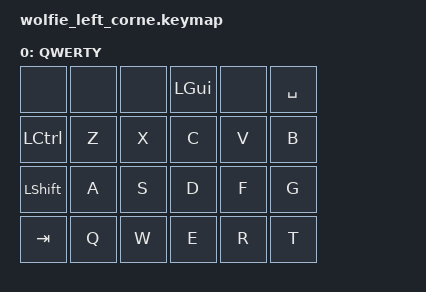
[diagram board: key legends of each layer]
#include <behaviors.dtsi>
#include <dt-bindings/zmk/keys.h>

/*
 * LEFT HALF (physical, left to right)
 *   TAB  Q  W  E  R  T
 *   LSHIFT A  S  D  F  G
 *   LCTRL  Z  X  C  V  B
 *   NONE  LGUI  NONE  SPACE
 *
 * Wiring verified using A-X test:
 *   top:       S T U V W X = scan matrix row 3, columns 0..5
 *   middle:    M N O P Q R = scan matrix row 2, columns 0..5
 *   third:     G H I J K L = scan matrix row 1, columns 0..5
 *   four thumbs: C D E F   = scan matrix row 0, columns 2..5
 *   matrix positions row0 col0 and col1 are unwired.
 *
 * The user requested the thumb row NONE / WIN / NONE / SPACE.
 * No active alternate layers in this standalone build.
 */
/ {
    keymap {
        compatible = "zmk,keymap";
        default_layer {
            display-name = "QWERTY";
            bindings = <
                /* scan row 0, thumb C D E F after two unwired positions */
                &none &none &none &kp LGUI &none &kp SPACE
                /* scan row 1: third physical row */
                &kp LCTRL &kp Z &kp X &kp C &kp V &kp B
                /* scan row 2: second physical row */
                &kp LSHFT &kp A &kp S &kp D &kp F &kp G
                /* scan row 3: top physical row */
                &kp TAB &kp Q &kp W &kp E &kp R &kp T
            >;
        };
    };
};
